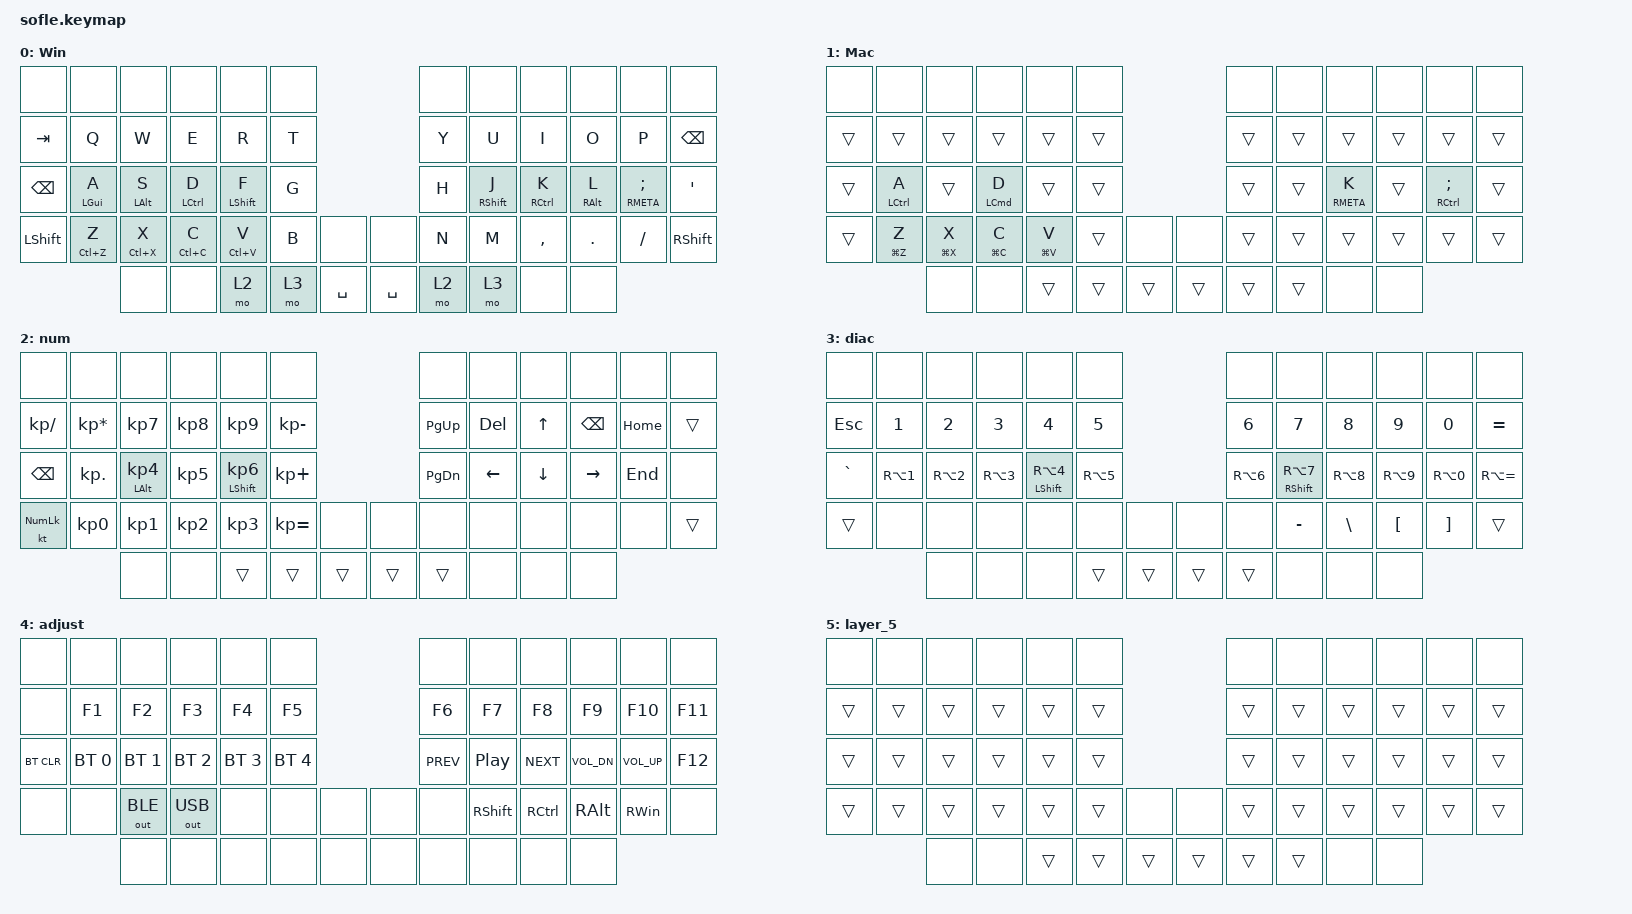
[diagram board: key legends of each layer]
/*
 * Copyright (c) 2020 The ZMK Contributors
 *
 * SPDX-License-Identifier: MIT
 */

#include <behaviors.dtsi>
#include <dt-bindings/zmk/bt.h>
#include <dt-bindings/zmk/keys.h>
#include <dt-bindings/zmk/outputs.h>

#define BASE 0
#define MAC 1
#define LOWER 2
#define RAISE 3
#define ADJUST 4

/ {
    // Activate ADJUST layer by pressing raise and lower
    conditional_layers {
        compatible = "zmk,conditional-layers";

        adjust {
            if-layers = <2 3>;
            then-layer = <4>;
        };
    };

    behaviors {
        hml: hml {
            compatible = "zmk,behavior-hold-tap";
            label = "HML";
            bindings = <&kp>, <&kp>;

            #binding-cells = <2>;
            tapping-term-ms = <200>;
            quick-tap-ms = <125>;
            require-prior-idle-ms = <50>;
            flavor = "tap-preferred";
            // Re-indexed for Sofle (Right hand keys + right thumbs)
            hold-trigger-key-positions = <6 7 8 9 10 11 18 19 20 21 22 23 30 31 32 33 34 35 43 44 45 46 47 48 49 53 54 55 56 57>;
            hold-trigger-on-release;
        };

        hmr: hmr {
            compatible = "zmk,behavior-hold-tap";
            label = "HMR";
            bindings = <&kp>, <&kp>;

            #binding-cells = <2>;
            tapping-term-ms = <200>;
            quick-tap-ms = <125>;
            require-prior-idle-ms = <50>;
            flavor = "tap-preferred";
            // Re-indexed for Sofle (Left hand keys + left thumbs)
            hold-trigger-key-positions = <0 1 2 3 4 5 12 13 14 15 16 17 24 25 26 27 28 29 36 37 38 39 40 41 42 47 48 49 50 51 52>;
            hold-trigger-on-release;
        };

        smart_caps: smart_caps {
            compatible = "zmk,behavior-hold-tap";
            label = "SMART_CAPS";
            bindings = <&kp>, <&caps_word>;

            #binding-cells = <2>;
            tapping-term-ms = <250>;
            flavor = "tap-preferred";
            require-prior-idle-ms = <50>;
        };

        sml: sml {
            compatible = "zmk,behavior-hold-tap";
            label = "SML";
            bindings = <&kp>, <&kp>;

            #binding-cells = <2>;
            tapping-term-ms = <200>;
            quick-tap-ms = <125>;
            require-prior-idle-ms = <50>;
            flavor = "balanced";
            hold-trigger-on-release;
        };

        smr: smr {
            compatible = "zmk,behavior-hold-tap";
            label = "SMR";
            bindings = <&kp>, <&kp>;

            #binding-cells = <2>;
            tapping-term-ms = <200>;
            quick-tap-ms = <125>;
            require-prior-idle-ms = <50>;
            flavor = "balanced";
            hold-trigger-on-release;
        };
    };

    combos {
        compatible = "zmk,combos";

        smart-cap {
            bindings = <&smart_caps CAPSLOCK 0>;
            // Mapped to Sofle equivalent positions (E and I keys)
            key-positions = <15 20>;
        };

        lenter {
            bindings = <&kp ENTER>;
            // Mapped to Sofle equivalent positions (W and E keys)
            key-positions = <14 15>;
            require-prior-idle-ms = <150>;
        };

        renter {
            bindings = <&kp ENTER>;
            // Mapped to Sofle equivalent positions (I and O keys)
            key-positions = <20 21>;
            require-prior-idle-ms = <150>;
        };

        off {
            bindings = <&soft_off>;
            // Mapped to outer corner alpha equivalent positions on Sofle
            key-positions = <13 24 35 46>;
        };
    };

    keymap {
        compatible = "zmk,keymap";

        win {
            display-name = "Win";

            bindings = <
&none          &none            &none            &none         &none              &none                                     &none      &none          &none         &none        &none            &none
&kp TAB        &kp Q            &kp W            &kp E         &kp R              &kp T                                     &kp Y      &kp U          &kp I         &kp O        &kp P            &kp BSPC
&kp BACKSPACE  &hml LEFT_GUI A  &hml LEFT_ALT S  &hml LCTRL D  &sml LEFT_SHIFT F  &kp G                                     &kp H      &smr RSHIFT J  &hmr RCTRL K  &hmr RALT L  &hmr RMETA SEMI  &kp SQT
&kp LSHFT      &hml LC(Z) Z     &hml LC(X) X     &hml LC(C) C  &hml LC(V) V       &kp B        &none           &none        &kp N      &kp M          &kp COMMA     &kp DOT      &kp FSLH         &kp RSHFT
                                &none            &none         &mo 2              &mo 3        &kp SPACE       &kp SPACE    &mo 2      &mo 3          &none         &none
            >;
        };

        Alt-Mac {
            display-name = "Mac";

            bindings = <
&none   &none         &none         &none         &none         &none                             &none   &none   &none         &none   &none                 &none
&trans  &trans        &trans        &trans        &trans        &trans                            &trans  &trans  &trans        &trans  &trans                &trans
&trans  &hml LCTRL A  &trans        &hml LCMD D   &trans        &trans                            &trans  &trans  &hmr RMETA K  &trans  &hmr RCTRL SEMICOLON  &trans
&trans  &hml LG(Z) Z  &hml LG(X) X  &hml LG(C) C  &hml LG(V) V  &trans    &none         &none     &trans  &trans  &trans        &trans  &trans                &trans
                      &none         &none         &trans        &trans    &trans        &trans    &trans  &trans  &none         &none
            >;
        };

        raise_layer {
            display-name = "num";

            bindings = <
&none           &none            &none                      &none            &none                    &none                                     &none      &none     &none     &none          &none     &none
&kp KP_SLASH    &kp KP_MULTIPLY  &kp KP_NUMBER_7            &kp KP_N8        &kp KP_N9                &kp KP_MINUS                              &kp PG_UP  &kp DEL   &kp UP    &kp BACKSPACE  &kp HOME  &trans
&kp BACKSPACE   &kp KP_DOT       &hml LEFT_ALT KP_NUMBER_4  &kp KP_NUMBER_5  &hml LSHIFT KP_NUMBER_6  &kp KP_PLUS                               &kp PG_DN  &kp LEFT  &kp DOWN  &kp RIGHT      &kp END   &none
&kt KP_NUMLOCK  &kp KP_N0        &kp KP_NUMBER_1            &kp KP_N2        &kp KP_NUMBER_3          &kp KP_EQUAL  &none          &none        &none      &none     &none     &none          &none     &trans
                                 &none                      &none            &trans                   &trans        &trans         &trans       &trans     &none     &none     &none
            >;
        };

        alt-lower {
            display-name = "diac";

            bindings = <
&none       &none             &none             &none             &none                         &none                                     &none             &none                    &none          &none             &none              &none
&kp ESCAPE  &kp NUMBER_1      &kp NUMBER_2      &kp NUMBER_3      &kp NUMBER_4                  &kp N5                                    &kp NUMBER_6      &kp N7                   &kp N8         &kp N9            &kp N0             &kp EQUAL
&kp GRAVE   &kp RA(NUMBER_1)  &kp RA(NUMBER_2)  &kp RA(NUMBER_3)  &hml LEFT_SHIFT RA(NUMBER_4)  &kp RA(N5)                                &kp RA(NUMBER_6)  &hmr RIGHT_SHIFT RA(N7)  &kp RA(N8)     &kp RA(N9)        &kp RA(N0)         &kp RA(EQUAL)
&trans      &none             &none             &none             &none                         &none         &none          &none        &none             &kp MINUS                &kp BACKSLASH  &kp LEFT_BRACKET  &kp RIGHT_BRACKET  &trans
                              &none             &none             &none                         &trans        &trans         &trans       &trans            &none                    &none          &none
            >;
        };

        adjust_layer {
            display-name = "adjust";

            bindings = <
&none       &none         &none         &none         &none         &none                                     &none       &none             &none       &none          &none          &none
&none       &kp F1        &kp F2        &kp F3        &kp F4        &kp F5                                    &kp F6      &kp F7            &kp F8      &kp F9         &kp F10        &kp F11
&bt BT_CLR  &bt BT_SEL 0  &bt BT_SEL 1  &bt BT_SEL 2  &bt BT_SEL 3  &bt BT_SEL 4                              &kp C_PREV  &kp C_PLAY_PAUSE  &kp C_NEXT  &kp C_VOL_DN   &kp C_VOL_UP   &kp F12
&none       &none         &out OUT_BLE  &out OUT_USB  &none         &none         &none          &none        &none       &kp RIGHT_SHIFT   &kp RCTRL   &kp RIGHT_ALT  &kp RIGHT_WIN  &none
                          &none         &none         &none         &none         &none          &none        &none       &none             &none       &none
            >;
        };

        layer_5 {
            display-name = "layer_5";

            bindings = <
&none   &none   &none   &none   &none   &none                   &none   &none   &none   &none   &none   &none
&trans  &trans  &trans  &trans  &trans  &trans                  &trans  &trans  &trans  &trans  &trans  &trans
&trans  &trans  &trans  &trans  &trans  &trans                  &trans  &trans  &trans  &trans  &trans  &trans
&trans  &trans  &trans  &trans  &trans  &trans  &none   &none   &trans  &trans  &trans  &trans  &trans  &trans
                &none   &none   &trans  &trans  &trans  &trans  &trans  &trans  &none   &none
            >;
        };
    };
};
